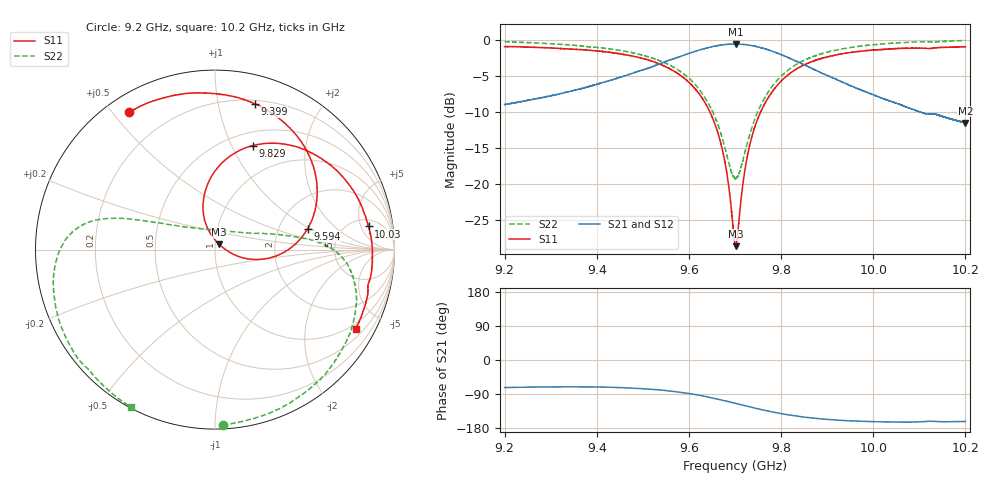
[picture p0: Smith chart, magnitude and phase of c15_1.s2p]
!Agilent Technologies,N5242A,MY51221714,A.09.90.19
!Agilent N5242A: A.09.90.19
!Date: Saturday, March 16, 2024 10:29:05
!Correction: S11(Full 2 Port(1,2))
!S21(Full 2 Port(1,2))
!S12(Full 2 Port(1,2))
!S22(Full 2 Port(1,2))
!S2P File: Measurements: S11, S21, S12, S22:
# Hz S  dB  R 50
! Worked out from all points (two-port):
!   16001 points, 9.2 GHz to 10.2 GHz, reference 50 ohm
!   highest |S21| = -0.53 dB at 9.703 GHz (marker M1); lowest = -11.5 dB at 10.2 GHz (marker M2)
!   |S21| within 3 dB of the highest: 9.527 GHz to 9.854 GHz (326.6 MHz wide, 3.37 % of centre); 9.853907 GHz to 9.853994 GHz (86.88 kHz wide, 0.000882 % of centre)
!   lowest |S11| = -28.6 dB at 9.702 GHz (marker M3), VSWR 1.08, Z = 52.3 + j3.07 ohm
!   |S11| at or under -10 dB: 9.646 GHz to 9.755 GHz (109.7 MHz wide, 1.13 % of centre); 9.755452 GHz to 9.755529 GHz (77.1 kHz wide, 0.00079 % of centre)
!   |S22| runs from -19.3 to 0.0 dB; largest |S21 - S12| = 0.012
!   S11 on the Smith chart (normalised r, x): 9.2 GHz: 0.07, +0.55; 9.399 GHz: 0.23, +1.28; 9.594 GHz: 2.90, +0.95; 9.829 GHz: 0.65, +1.21; 10.03 GHz: 6.69, +6.91; 10.2 GHz: 0.80, -3.65
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9.2e9  -0.91 121.9  -8.93 -72.8  -8.93 -73.4  -0.20 -87.5
9.277625e9  -1.02 104.3  -8.02 -71.3  -8.00 -71.8  -0.42 -66.0
9.366688e9  -1.33 83.1  -6.72 -70.9  -6.70 -71.4  -0.81 -42.3
9.398688e9  -1.50 74.8  -6.15 -71.2  -6.14 -71.8  -1.01 -34.1
9.533375e9  -3.24 35.1  -3.38 -78.7  -3.37 -79.2  -2.76 -4.9
9.593875e9  -5.53 12.8  -1.97 -87.4  -1.98 -87.9  -4.92 4.7
9.63375e9  -8.57 -3.3  -1.17 -95.7  -1.17 -96.2  -7.90 11.2
9.663062e9  -12.88 -14.1  -0.75 -103.3  -0.74 -103.7  -11.75 20.5
9.681375e9  -18.15 -15.6  -0.59 -108.5  -0.58 -109.0  -15.76 36.5
9.7e9  -28.21 33.4  -0.54 -114.0  -0.51 -114.6  -19.26 80.7
9.702125e9  -28.59 52.0  -0.55 -114.7  -0.52 -115.2  -19.18 87.0
9.7025e9  -28.35 54.8  -0.53 -114.8  -0.52 -115.3  -19.12 88.4
9.723375e9  -17.31 109.7  -0.63 -121.1  -0.60 -121.7  -15.12 136.3
9.7445e9  -11.77 105.0  -0.88 -127.4  -0.85 -127.9  -10.72 151.4
9.779938e9  -7.23 90.3  -1.51 -136.7  -1.52 -137.4  -6.47 159.4
9.829e9  -4.19 69.8  -2.81 -147.3  -2.81 -147.8  -3.53 165.4
9.866688e9  -2.99 55.6  -3.93 -153.2  -3.92 -153.6  -2.35 170.2
9.945688e9  -1.76 30.4  -6.18 -160.3  -6.19 -160.8  -1.07 -176.6
1.002762e10  -1.25 8.6  -8.25 -163.2  -8.25 -163.9  -0.50 -159.5
1.003338e10  -1.23 7.2  -8.37 -163.3  -8.39 -163.9  -0.47 -158.2
1.011031e10  -1.12 -10.9  -10.16 -162.6  -10.15 -163.2  -0.21 -140.7
1.02e10  -0.93 -29.4  -11.49 -162.3  -11.47 -162.9  -0.05 -118.2
